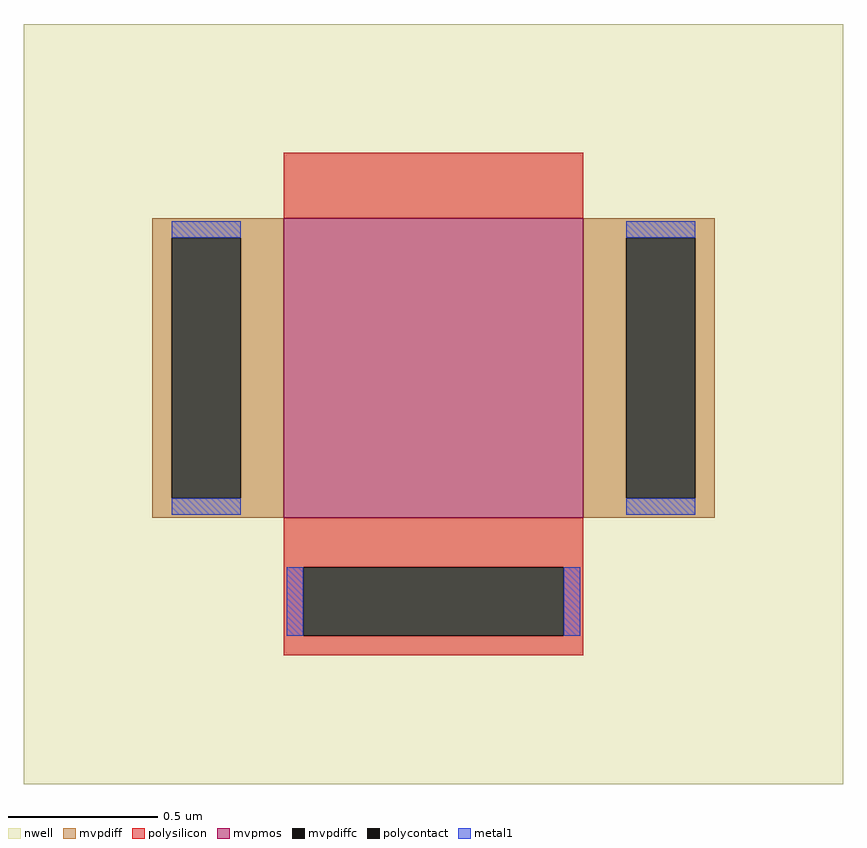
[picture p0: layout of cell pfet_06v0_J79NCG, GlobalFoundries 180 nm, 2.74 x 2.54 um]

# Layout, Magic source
magic
tech gf180mcuD
magscale 1 10
<< nwell >>
rect -274 -254 274 254
<< mvpmos >>
rect -100 -76 100 124
<< mvpdiff >>
rect -188 111 -100 124
rect -188 -63 -175 111
rect -129 -63 -100 111
rect -188 -76 -100 -63
rect 100 111 188 124
rect 100 -63 129 111
rect 175 -63 188 111
rect 100 -76 188 -63
<< mvpdiffc >>
rect -175 -63 -129 111
rect 129 -63 175 111
<< polysilicon >>
rect -100 124 100 168
rect -100 -109 100 -76
rect -100 -155 -87 -109
rect 87 -155 100 -109
rect -100 -168 100 -155
<< polycontact >>
rect -87 -155 87 -109
<< metal1 >>
rect -175 111 -129 122
rect -175 -74 -129 -63
rect 129 111 175 122
rect 129 -74 175 -63
rect -98 -155 -87 -109
rect 87 -155 98 -109
<< properties >>
string gencell pfet_05v0
string library gf180mcu
string parameters w 1.0 l 1.0 m 1 nf 1 diffcov 100 polycov 100 guard 0 glc 0 grc 0 gtc 0 gbc 0 tbcov 100 rlcov 100 topc 0 botc 1 poverlap 0 doverlap 0 lmin 0.55 wmin 0.3 class mosfet full_metal 0 compatible {pfet_03v3 pfet_05v0 pfet_06v0}
<< end >>
